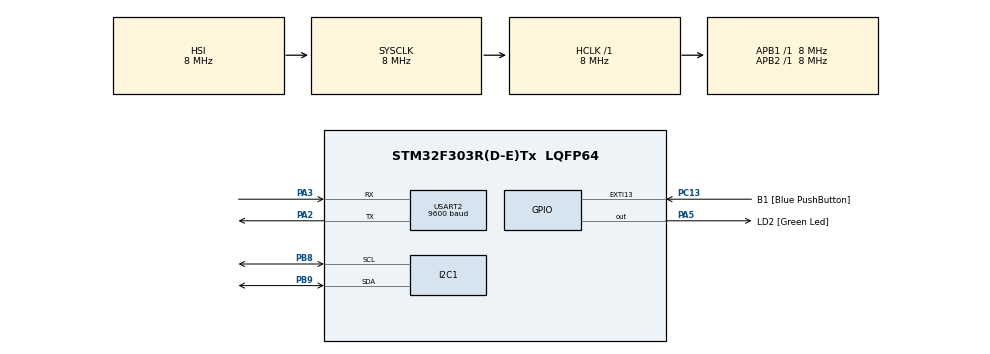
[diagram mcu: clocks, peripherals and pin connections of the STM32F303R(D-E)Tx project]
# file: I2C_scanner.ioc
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Mcu.Family=STM32F3
Mcu.Name=STM32F303R(D-E)Tx
Mcu.Package=LQFP64
NVIC.PriorityGroup=NVIC_PRIORITYGROUP_4
PA13.GPIO_Label=TMS
PA13.Mode=Serial_Wire
PA13.Signal=SYS_JTMS-SWDIO
PA14.GPIO_Label=TCK
PA14.Mode=Serial_Wire
PA14.Signal=SYS_JTCK-SWCLK
PA2.Mode=Asynchronous
PA2.Signal=USART2_TX
PA3.Mode=Asynchronous
PA3.Signal=USART2_RX
PA5.GPIO_Label=LD2 [Green Led]
PA5.Signal=GPIO_Output
PB8.Mode=I2C
PB8.Signal=I2C1_SCL
PB9.Mode=I2C
PB9.Signal=I2C1_SDA
PC13.GPIO_Label=B1 [Blue PushButton]
PC13.Signal=GPXTI13
ProjectManager.HeapSize=0x200
ProjectManager.StackSize=0x400
ProjectManager.TargetToolchain=SW4STM32
RCC.AHBFreq_Value=8000000
RCC.APB1Freq_Value=8000000
RCC.APB2Freq_Value=8000000
RCC.CortexFreq_Value=8000000
RCC.HSE_VALUE=8000000
RCC.HSI_VALUE=8000000
RCC.LSE_VALUE=32768
RCC.SYSCLKFreq_VALUE=8000000
RCC.USBFreq_Value=16000000
USART2.BaudRate=9600
USART2.VirtualMode-Asynchronous=VM_ASYNC
board=custom

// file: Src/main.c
/* USER CODE BEGIN Header */
/**
  ******************************************************************************
  * @file           : main.c
  * @brief          : Main program body
  ******************************************************************************
  * @attention
  *
  * <h2><center>&copy; Copyright (c) 2020 STMicroelectronics.
  * All rights reserved.</center></h2>
  *
  * This software component is licensed by ST under BSD 3-Clause license,
  * the "License"; You may not use this file except in compliance with the
  * License. You may obtain a copy of the License at:
  *                        opensource.org/licenses/BSD-3-Clause
  *
  ******************************************************************************
  */
/* USER CODE END Header */

#include "main.h"

I2C_HandleTypeDef hi2c1;

UART_HandleTypeDef huart2;

void SystemClock_Config(void);
static void MX_GPIO_Init(void);
static void MX_I2C1_Init(void);
static void MX_USART2_UART_Init(void);
/* USER CODE BEGIN PFP */

/* Direct printf to output somewhere */
#ifdef __GNUC__
#define PUTCHAR_PROTOTYPE int __io_putchar(int ch)
#else
#define PUTCHAR_PROTOTYPE int fputc(int ch, FILE *f)
#endif /* __GNUC__ */

#ifndef __UUID_H
#define __UUID_H
//#define STM32_UUID ((uint32_t *)0x1FF0F420)
#define STM32_UUID ((uint32_t *)UID_BASE)
#endif //__UUID_H

void send_string(char* s)
{
 HAL_UART_Transmit(&huart2, (uint8_t*)s, strlen(s), 1000);
}

void send_char(char c)
{
 HAL_UART_Transmit(&huart2, (uint8_t*)&c, 1, 1000);
}

int __io_putchar(int ch)
{
	 if (ch == '\n')
	 send_char('\r');
	 send_char(ch);
	 return ch;
}
/* USER CODE END PFP */

int main(void)
{

  /* MCU Configuration--------------------------------------------------------*/

  /* Reset of all peripherals, Initializes the Flash interface and the Systick. */
  HAL_Init();

  /* Configure the system clock */
  SystemClock_Config();

  /* Initialize all configured peripherals */
  MX_GPIO_Init();
  MX_I2C1_Init();
  MX_USART2_UART_Init();
  /* USER CODE BEGIN 2 */

  char *uart2Data = "Connected to UART Two\r\n";

      // Output to uart2
      // use screen or putty or whatever terminal software
      // 8N1 115200

  	HAL_UART_Transmit(&huart2, (uint8_t *)uart2Data,strlen(uart2Data), HAL_MAX_DELAY);
   	printf("\r\n");

   	printf("Scanning I2C bus:\r\n");
  	HAL_StatusTypeDef result;
   	uint8_t i;
   	for (i=1; i<128; i++)
   	{

   	   // the HAL wants a left aligned i2c address
   	   // &hi2c1 is the handle
   	   // (uint16_t)(i<<1) is the i2c address left aligned
   	   // retries 2
   	   // timeout 2

   	  result = HAL_I2C_IsDeviceReady(&hi2c1, (uint16_t)(i<<1), 2, 2);
   	  if (result != HAL_OK) // HAL_ERROR or HAL_BUSY or HAL_TIMEOUT
   	  {
   		  printf("."); // No ACK received at that address
   	  }
   	  if (result == HAL_OK)
   	  {
   		  printf("0x%X", i); // Received an ACK at that address
   	  }
   	}
   	printf("\r\n");

  /* USER CODE END 2 */

  /* Infinite loop */
  while (1)
  {

  }
}

void SystemClock_Config(void)
{
  RCC_OscInitTypeDef RCC_OscInitStruct = {0};
  RCC_ClkInitTypeDef RCC_ClkInitStruct = {0};
  RCC_PeriphCLKInitTypeDef PeriphClkInit = {0};

  /** Initializes the CPU, AHB and APB busses clocks
  */
  RCC_OscInitStruct.OscillatorType = RCC_OSCILLATORTYPE_HSI;
  RCC_OscInitStruct.HSIState = RCC_HSI_ON;
  RCC_OscInitStruct.HSICalibrationValue = RCC_HSICALIBRATION_DEFAULT;
  RCC_OscInitStruct.PLL.PLLState = RCC_PLL_NONE;
  if (HAL_RCC_OscConfig(&RCC_OscInitStruct) != HAL_OK)
  {
    Error_Handler();
  }
  /** Initializes the CPU, AHB and APB busses clocks
  */
  RCC_ClkInitStruct.ClockType = RCC_CLOCKTYPE_HCLK|RCC_CLOCKTYPE_SYSCLK
                              |RCC_CLOCKTYPE_PCLK1|RCC_CLOCKTYPE_PCLK2;
  RCC_ClkInitStruct.SYSCLKSource = RCC_SYSCLKSOURCE_HSI;
  RCC_ClkInitStruct.AHBCLKDivider = RCC_SYSCLK_DIV1;
  RCC_ClkInitStruct.APB1CLKDivider = RCC_HCLK_DIV1;
  RCC_ClkInitStruct.APB2CLKDivider = RCC_HCLK_DIV1;

  if (HAL_RCC_ClockConfig(&RCC_ClkInitStruct, FLASH_LATENCY_0) != HAL_OK)
  {
    Error_Handler();
  }
  PeriphClkInit.PeriphClockSelection = RCC_PERIPHCLK_USART2|RCC_PERIPHCLK_I2C1;
  PeriphClkInit.Usart2ClockSelection = RCC_USART2CLKSOURCE_PCLK1;
  PeriphClkInit.I2c1ClockSelection = RCC_I2C1CLKSOURCE_HSI;
  if (HAL_RCCEx_PeriphCLKConfig(&PeriphClkInit) != HAL_OK)
  {
    Error_Handler();
  }
}

static void MX_I2C1_Init(void)
{

  hi2c1.Instance = I2C1;
  hi2c1.Init.Timing = 0x2000090E;
  hi2c1.Init.OwnAddress1 = 0;
  hi2c1.Init.AddressingMode = I2C_ADDRESSINGMODE_7BIT;
  hi2c1.Init.DualAddressMode = I2C_DUALADDRESS_DISABLE;
  hi2c1.Init.OwnAddress2 = 0;
  hi2c1.Init.OwnAddress2Masks = I2C_OA2_NOMASK;
  hi2c1.Init.GeneralCallMode = I2C_GENERALCALL_DISABLE;
  hi2c1.Init.NoStretchMode = I2C_NOSTRETCH_DISABLE;
  if (HAL_I2C_Init(&hi2c1) != HAL_OK)
  {
    Error_Handler();
  }
  /** Configure Analogue filter
  */
  if (HAL_I2CEx_ConfigAnalogFilter(&hi2c1, I2C_ANALOGFILTER_ENABLE) != HAL_OK)
  {
    Error_Handler();
  }
  /** Configure Digital filter
  */
  if (HAL_I2CEx_ConfigDigitalFilter(&hi2c1, 0) != HAL_OK)
  {
    Error_Handler();
  }

}

static void MX_USART2_UART_Init(void)
{

  huart2.Instance = USART2;
  huart2.Init.BaudRate = 9600;
  huart2.Init.WordLength = UART_WORDLENGTH_8B;
  huart2.Init.StopBits = UART_STOPBITS_1;
  huart2.Init.Parity = UART_PARITY_NONE;
  huart2.Init.Mode = UART_MODE_TX_RX;
  huart2.Init.HwFlowCtl = UART_HWCONTROL_NONE;
  huart2.Init.OverSampling = UART_OVERSAMPLING_16;
  huart2.Init.OneBitSampling = UART_ONE_BIT_SAMPLE_DISABLE;
  huart2.AdvancedInit.AdvFeatureInit = UART_ADVFEATURE_NO_INIT;
  if (HAL_UART_Init(&huart2) != HAL_OK)
  {
    Error_Handler();
  }

}

static void MX_GPIO_Init(void)
{
  GPIO_InitTypeDef GPIO_InitStruct = {0};

  /* GPIO Ports Clock Enable */
  __HAL_RCC_GPIOC_CLK_ENABLE();
  __HAL_RCC_GPIOA_CLK_ENABLE();
  __HAL_RCC_GPIOB_CLK_ENABLE();

  /*Configure GPIO pin Output Level */
  HAL_GPIO_WritePin(LD2_GPIO_Port, LD2_Pin, GPIO_PIN_RESET);

  /*Configure GPIO pin : B1_Pin */
  GPIO_InitStruct.Pin = B1_Pin;
  GPIO_InitStruct.Mode = GPIO_MODE_IT_RISING;
  GPIO_InitStruct.Pull = GPIO_NOPULL;
  HAL_GPIO_Init(B1_GPIO_Port, &GPIO_InitStruct);

  /*Configure GPIO pin : LD2_Pin */
  GPIO_InitStruct.Pin = LD2_Pin;
  GPIO_InitStruct.Mode = GPIO_MODE_OUTPUT_PP;
  GPIO_InitStruct.Pull = GPIO_NOPULL;
  GPIO_InitStruct.Speed = GPIO_SPEED_FREQ_LOW;
  HAL_GPIO_Init(LD2_GPIO_Port, &GPIO_InitStruct);

}

void Error_Handler(void)
{
}

/************************ (C) COPYRIGHT STMicroelectronics *****END OF FILE****/
